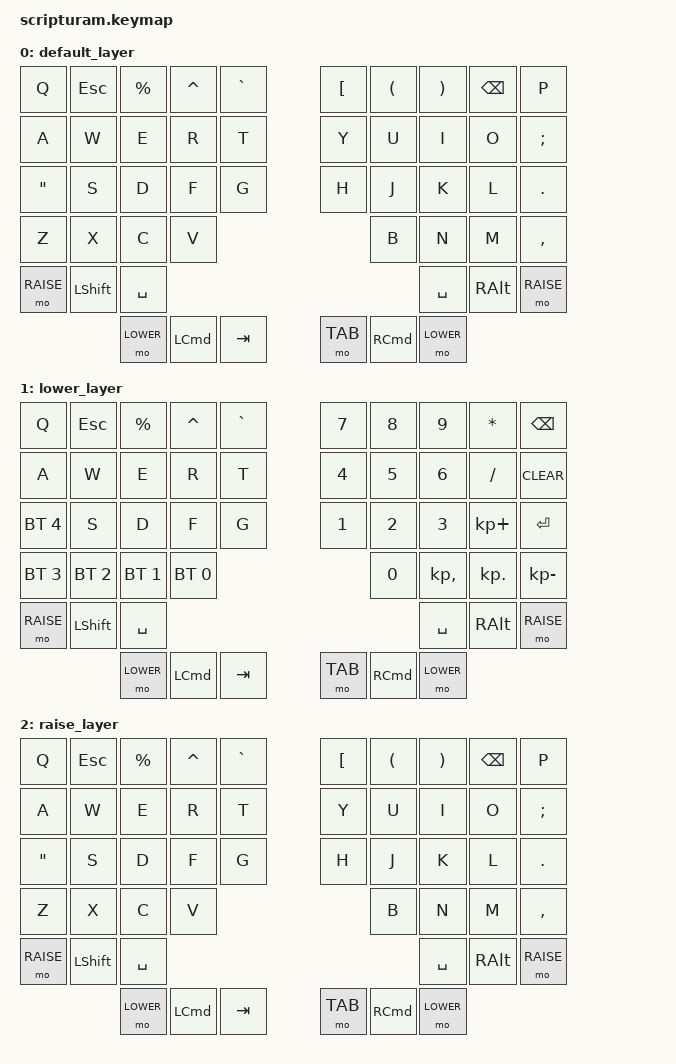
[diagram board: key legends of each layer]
/*
 * Copyright (c) 2020 The ZMK Contributors
 *
 * SPDX-License-Identifier: MIT
 */

#include <behaviors.dtsi>
#include <dt-bindings/zmk/keys.h>
#include <dt-bindings/zmk/bt.h>

#define DEFAULT 0
#define LOWER 1
#define RAISE 2


/ {
        keymap {
                compatible = "zmk,keymap";

                default_layer {
// -----------------------------------------------------------------------------------------
 





                        bindings = <
//       |––––––––––––––––––––––––––––––––––––––––––––––––––––––––––––––––––––––––––––––––––––––––––––––––––––|
// |  Q  | ESC |  É  |  È  |  À  |                                                   |  Ç  |  LPAR  |  RPAR  | BKSP |  P  |
    &kp Q &kp ESC &kp PRCNT &kp CARET &kp GRAVE                                       &kp LBKT &kp LPAR &kp RPAR &kp BSPC &kp P
// |  A  |  W  |  E  |  R  |  T  |                                                   |  Y  |  U  |  I  |  O   |  ;  | 
    &kp A &kp W &kp E &kp R &kp T                                                     &kp Y &kp U &kp I &kp O &kp SEMI     
// |  Ù  |  S  |  D  |  F  |  G  |                                                   |  H  |  J  |  K  |  L   |  .  |
    &kp DQT &kp S &kp D &kp F &kp G                                                   &kp H &kp J  &kp K &kp L &kp DOT
//       |  Z  |  X  |  C  |  V  |                                                   |  B  |  N  |  M  |  ,   |
         &kp Z &kp X &kp C &kp V                                                     &kp B &kp N  &kp M &kp COMMA 
//                               | RSE | SHFT | SPC |             | SPC | ALT  | RSE |
                                 &mo RAISE &kp LSHIFT &kp SPACE   &kp SPACE &kp RALT &mo RAISE
//                               | LWR | COM  | TAB |             | TAB |  COM | LWR |
                                 &mo LOWER &kp LCMD &kp TAB       &mo TAB &kp RCMD &mo LOWER
                        >;
                };
                lower_layer {
                           bindings = <               
//       |––––––––––––––––––––––––––––––––––––––––––––––––––––––––––––––––––––––––––––––––––––––––––––––––––––|
// |  Q  | ESC |  É  |  È  |  À  |                                                   |  7  |  8  |  9  | * |  BSPC |
    &kp Q &kp ESC &kp PRCNT &kp CARET &kp GRAVE                                       &kp N7 &kp N8 &kp N9 &kp STAR &kp BSPC
// |  A  |  W  |  E  |  R  |  T  |                                                   |  4  |  5  |  6  |  /   |  CLEAR  | 
    &kp A &kp W &kp E &kp R &kp T                                                     &kp N4 &kp N5 &kp N6 &kp SLASH &kp CLEAR     
// |  PROFILE_5  |  S  |  D  |  F  |  G  |                                           |  1  |  2  |  3  |  +   |  ENTER  |
    &bt BT_SEL 4 &kp S &kp D &kp F &kp G                                              &kp N1 &kp N2  &kp N3 &kp KP_PLUS &kp ENTER
//       |  PROFILE_4  |  PROFILE_3  |  PROFILE_2  |  PROFILE_1  |                   |  0  |  ,  |  .  |  -   |
         &bt BT_SEL 3 &bt BT_SEL 2 &bt BT_SEL 1 &bt BT_SEL 0                          &kp N0 &kp KP_COMMA &kp KP_DOT &kp KP_MINUS 
//                               | RSE | SHFT | SPC |             | SPC | ALT  | RSE |
                                 &mo RAISE &kp LSHIFT &kp SPACE   &kp SPACE &kp RALT &mo RAISE
//                               | LWR | COM  | TAB |             | TAB |  COM | LWR |
                                 &mo LOWER &kp LCMD &kp TAB       &mo TAB &kp RCMD &mo LOWER
                        >;
                };

                raise_layer {
                        bindings = <                  
//       |––––––––––––––––––––––––––––––––––––––––––––––––––––––––––––––––––––––––––––––––––––––––––––––––––––|
// |  Q  | ESC |  É  |  È  |  À  |                                                   |  Ç  |  LPAR  |  RPAR  | BKSP |  P  |
    &kp Q &kp ESC &kp PRCNT &kp CARET &kp GRAVE                                       &kp LBKT &kp LPAR &kp RPAR &kp BSPC &kp P
// |  A  |  W  |  E  |  R  |  T  |                                                   |  Y  |  U  |  I  |  O   |  ;  | 
    &kp A &kp W &kp E &kp R &kp T                                                     &kp Y &kp U &kp I &kp O &kp SEMI     
// |  Ù  |  S  |  D  |  F  |  G  |                                                   |  H  |  J  |  K  |  L   |  .  |
    &kp DQT &kp S &kp D &kp F &kp G                                                   &kp H &kp J  &kp K &kp L &kp DOT
//       |  Z  |  X  |  C  |  V  |                                                   |  B  |  N  |  M  |  ,   |
         &kp Z &kp X &kp C &kp V                                                     &kp B &kp N  &kp M &kp COMMA 
//                               | RSE | SHFT | SPC |             | SPC | ALT  | RSE |
                                 &mo RAISE &kp LSHIFT &kp SPACE   &kp SPACE &kp RALT &mo RAISE
//                               | LWR | COM  | TAB |             | TAB |  COM | LWR |
                                 &mo LOWER &kp LCMD &kp TAB       &mo TAB &kp RCMD &mo LOWER
                        >;
                };
        };
};
